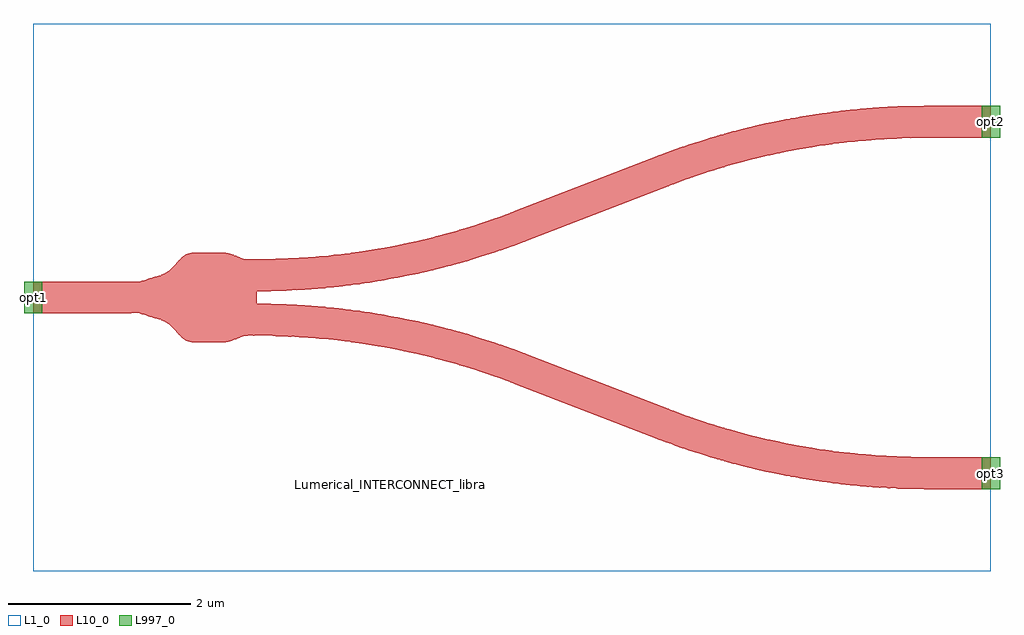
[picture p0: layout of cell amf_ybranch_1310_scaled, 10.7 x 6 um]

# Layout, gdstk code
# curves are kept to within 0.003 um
import gdstk
lib = gdstk.Library(unit=1e-6, precision=1e-09)
def R(c, l, rs):  # rectangles x0, y0, x1, y1
    for r in rs: c.add(gdstk.rectangle(r[:2], r[2:], *l))
def P(c, l, *ps):  # polygons
    for p in ps: c.add(gdstk.Polygon(p, *l))
L1_0 = (1, 0)
L10_0 = (10, 0)
L997_0 = (997, 0)

amf_ybranch_1310_scaled = lib.new_cell('amf_ybranch_1310_scaled')
R(amf_ybranch_1310_scaled, L1_0, [(0,-3,10.5,3)])
P(amf_ybranch_1310_scaled, L10_0, [(9.771,-2.1),(9.428,-2.092),(9.105,-2.071),(8.773,-2.036),(8.435,-1.986),(8.018,-1.905),(7.763,-1.844),(7.421,-1.749),(7.118,-1.651),(6.868,-1.56),(5.239,-0.93),(5.239,-0.557),(7.144,-1.289),(7.547,-1.421),(7.862,-1.508),(8.079,-1.56),(8.428,-1.63),(8.721,-1.676),(9.008,-1.71),(9.234,-1.73),(9.648,-1.749),(10.5,-1.75),(10.5,-2.1)],
  [(5.239,-0.93),(4.992,-0.841),(4.665,-0.738),(4.341,-0.65),(3.972,-0.568),(3.697,-0.519),(3.296,-0.465),(2.943,-0.435),(2.629,-0.422),(2.629,-0.072),(2.997,-0.088),(3.294,-0.113),(3.598,-0.15),(3.844,-0.189),(4.154,-0.248),(4.4,-0.304),(4.717,-0.388),(5.066,-0.497),(5.239,-0.557)],
  [(1.78,-0.492),(1.707,-0.482),(1.655,-0.458),(1.607,-0.416),(1.504,-0.303),(1.455,-0.269),(1.406,-0.247),(1.184,-0.178),(1.132,-0.171),(1.051,-0.175),(0,-0.175),(0,0.07),(2.45,0.07),(2.45,-0.07),(2.629,-0.072),(2.629,-0.422),(2.364,-0.416),(2.306,-0.426),(2.179,-0.472),(2.11,-0.489)],
  [(5.239,0.557),(5.239,0.93),(6.994,1.607),(7.254,1.696),(7.492,1.77),(7.85,1.866),(8.234,1.95),(8.618,2.015),(8.91,2.052),(9.165,2.076),(9.559,2.097),(10.5,2.1),(10.5,1.75),(9.648,1.749),(9.234,1.73),(8.954,1.705),(8.721,1.676),(8.428,1.63),(8.101,1.565),(7.909,1.52),(7.656,1.453),(7.402,1.376),(7.144,1.289)],
  [(2.629,0.072),(2.629,0.422),(2.943,0.435),(3.242,0.46),(3.529,0.494),(3.715,0.522),(3.972,0.568),(4.341,0.65),(4.567,0.71),(4.717,0.753),(4.992,0.841),(5.239,0.93),(5.239,0.557),(5.066,0.497),(4.758,0.4),(4.487,0.326),(4.241,0.267),(3.844,0.189),(3.583,0.148),(3.294,0.113),(2.997,0.088)],
  [(0,0.07),(0,0.175),(1.144,0.172),(1.178,0.177),(1.406,0.247),(1.46,0.272),(1.504,0.303),(1.64,0.447),(1.687,0.475),(1.739,0.489),(2.094,0.491),(2.153,0.48),(2.306,0.426),(2.337,0.419),(2.629,0.422),(2.629,0.072)])
amf_ybranch_1310_scaled.add(gdstk.FlexPath([(0.1,0),(-0.1,0)], 0.35, ends="flush", simple_path=True, layer=997, datatype=0))  # L997_0
amf_ybranch_1310_scaled.add(gdstk.FlexPath([(10.4,1.925),(10.6,1.925)], 0.35, ends="flush", simple_path=True, layer=997, datatype=0))  # L997_0
amf_ybranch_1310_scaled.add(gdstk.FlexPath([(10.4,-1.925),(10.6,-1.925)], 0.35, ends="flush", simple_path=True, layer=997, datatype=0))  # L997_0
amf_ybranch_1310_scaled.add(gdstk.Label('Lumerical_INTERCONNECT_library=Design kits/ebeam', (3.92,-2.055), layer=1, texttype=0))
amf_ybranch_1310_scaled.add(gdstk.Label('opt1', (0,0), layer=997, texttype=0))
amf_ybranch_1310_scaled.add(gdstk.Label('opt3', (10.5,-1.925), layer=997, texttype=0))
amf_ybranch_1310_scaled.add(gdstk.Label('opt2', (10.5,1.925), layer=997, texttype=0))

lib.write_gds('amf_ybranch_1310_scaled.gds')
